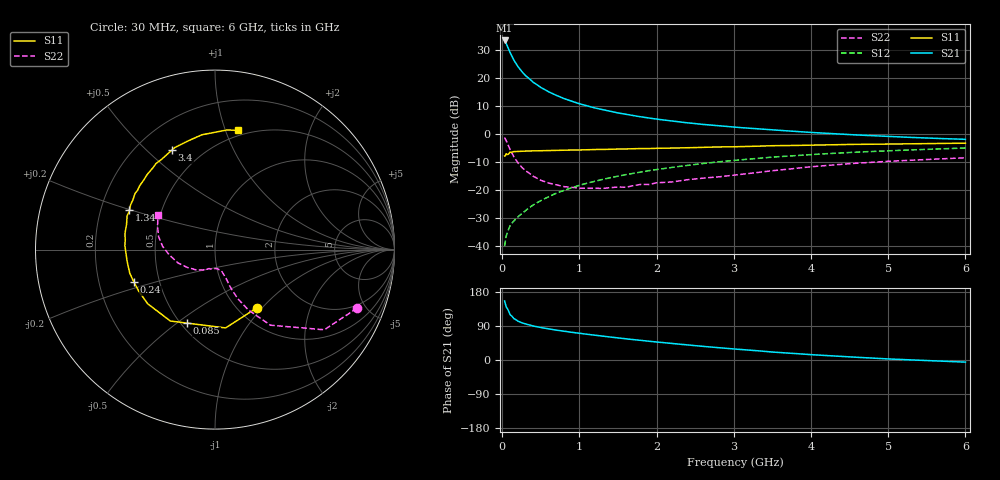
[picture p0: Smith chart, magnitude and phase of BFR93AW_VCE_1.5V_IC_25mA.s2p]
! Infineon Technologies  Discrete & RF Semiconductors
! BFR93AW
! VCE =  1.5 V,  IC =  25 mA
! Common Emitter S-Parameters:  Nov 2015
# GHz  S  MA  R  50
!  f  S11  S21  S12  S22
! GHz  MAG  ANG  MAG  ANG  MAG  ANG  MAG  ANG
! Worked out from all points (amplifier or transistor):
!   206 points, 30 MHz to 6 GHz, reference 50 ohm
!   highest |S21| = 33.3 dB at 30 MHz (marker M1)
!   |S21| within 3 dB of that: start of sweep to 80.53 MHz
!   unconditionally stable (mu >= 1): 458.7 MHz to 2.521 GHz
!   at 200 MHz: K = 0.79, MSG = 26.9 dB, |S12| = -29.8 dB
!   at 1.56 GHz: K = 1.05, MAG = 9.6 dB, |S12| = -14.8 dB
!   at 6 GHz: K = 0.96, MSG = 1.5 dB, |S12| = -5.1 dB
!   S11 on the Smith chart (normalised r, x): 30 MHz: 1.21, -0.94; 85 MHz: 0.54, -0.54; 240 MHz: 0.36, -0.17; 1.34 GHz: 0.32, +0.20; 3.4 GHz: 0.34, +0.60; 6 GHz: 0.45, +1.11
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0.03  0.3995 -54.4  46.38 155.7  0.0098 72.8  0.8564 -22.4
0.05  0.4403 -82.3  41.29 140.4  0.0148 67.3  0.7556 -36.2
0.085  0.4383 -110.9  31.72 127.7  0.0202 61.0  0.5854 -47.1
0.1  0.4692 -122.0  28.31 119.9  0.0226 59.3  0.5218 -53.8
0.15  0.4814 -141.2  20.54 109.3  0.0277 58.4  0.3836 -61.1
0.2  0.4842 -151.8  16.01 102.9  0.0324 60.7  0.3055 -64.9
0.24  0.4865 -158.1  13.59 99.4  0.0362 62.8  0.2627 -66.4
0.26  0.4886 -160.6  12.59 97.7  0.0381 63.5  0.2455 -67.1
0.3  0.4927 -164.7  10.96 94.9  0.0423 64.3  0.2197 -67.9
0.4  0.4941 -172.5  8.306 89.7  0.0533 67.2  0.174 -68.9
0.5  0.4968 -178.2  6.7 85.5  0.0639 68.4  0.1471 -70.7
0.6  0.5027 177.5  5.611 82.1  0.0748 69.4  0.1316 -71.8
0.7  0.5029 173.7  4.843 78.8  0.0864 69.9  0.1224 -74.3
0.82  0.5095 169.6  4.155 75.4  0.0995 69.8  0.1129 -79.1
1.04  0.5148 162.9  3.312 69.4  0.1244 69.2  0.1063 -85.9
1.34  0.5249 155.3  2.615 62.0  0.1574 67.1  0.1065 -97.0
2.02  0.5501 139.8  1.809 47.0  0.2315 61.4  0.1333 -121.2
3.1  0.5886 118.7  1.283 27.6  0.3429 50.1  0.1882 -149.5
3.4  0.6045 113.4  1.198 22.8  0.3721 46.8  0.2103 -157.7
4.1  0.6276 102.1  1.036 13.0  0.4321 38.8  0.2634 -175.7
5.1  0.6562 88.9  0.884 2.0  0.502 27.9  0.3263 165.1
6  0.6768 78.9  0.795 -5.6  0.5564 18.8  0.3717 148.7
